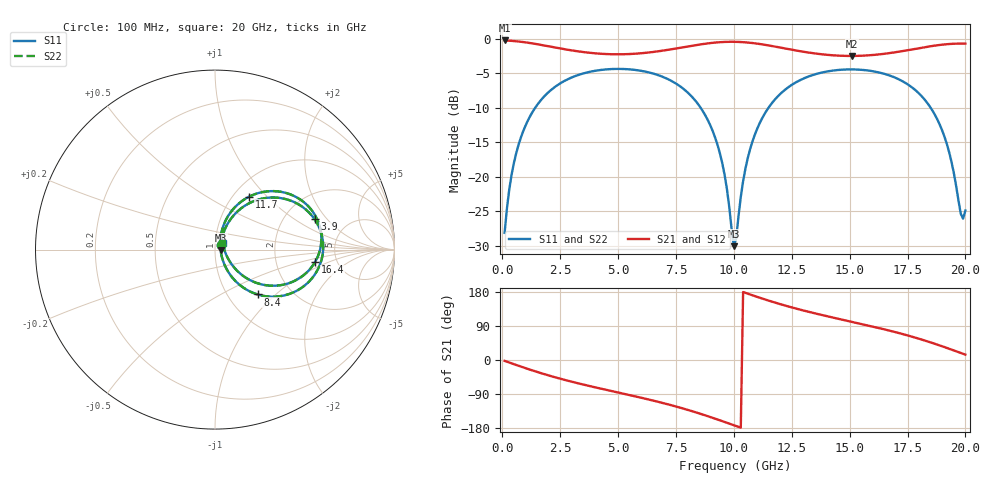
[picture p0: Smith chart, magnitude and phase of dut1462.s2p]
! Touchstone file exported from HFSS 2026.1.0
!  File:  C:/ffzhzh/LocalFiles/Ansys_Project_Files/temp_train_TSV_RDL_1462_1783360338_4416.aedt
!  Generated:  02:06:36 AM Jul  7, 2026
!  Design:  TSV_RDL
!  Project:  temp_train_TSV_RDL_1462_1783360338_4416
! Variables:
!  h_bsmrdl = 5.43um
!  h_ox = 20um
!  h_rdl = 5um
!  h_sub = 68.88um
!  h_tmrdl = 3.37um
!  h_tsv = 68.88um
!  h_via = 3um
!  l_bsmrdl = 842.32um
!  l_sub = 5873.97um
!  l_tmrdl = 705.86um
!  m_sub = 200um
!  pitch = 56.17um
!  r_tsv = 6.66um
!  s_tmrdl = 10um
!  w_bsmrdl = 28.09um
!  w_sub = 500um
!  w_tmrdl = 13.1um
!  x_tsv_center1 = 712.41um
!  x_tsv_center2 = 1582.82um
!  x_tsv_center3 = 2301.78um
!  x_tsv_center4 = 3172.19um
!  x_tsv_center5 = 3891.15um
!  x_tsv_center6 = 4761.56um
# GHz S MA R 50.000000
! Terminal data exported
! Port[1] = TM_RDL1_1_T1
! Port[2] = TM_RDL5_1_T1
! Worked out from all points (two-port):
!   200 points, 100 MHz to 20 GHz, reference 50 ohm
!   highest |S21| = -0.26 dB at 100 MHz (marker M1); lowest = -2.5 dB at 15.1 GHz (marker M2)
!   |S21| within 3 dB of the highest: start of sweep to end of sweep
!   lowest |S11| = -30.1 dB at 10 GHz (marker M3), VSWR 1.06, Z = 53.2 - j0.237 ohm
!   |S11| at or under -10 dB: start of sweep to 1.428 GHz; 8.56 GHz to 11.5 GHz (2.942 GHz wide, 29.3 % of centre); 18.5 GHz to end of sweep
!   |S22| runs from -30.1 to -4.4 dB; largest |S21 - S12| = 1.7e-14
!   S11 on the Smith chart (normalised r, x): 100 MHz: 1.06, +0.05; 3.9 GHz: 2.93, +1.49; 8.4 GHz: 1.37, -0.78; 11.7 GHz: 1.18, +0.79; 16.4 GHz: 3.41, -0.69; 20 GHz: 1.08, +0.08
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0.1  0.03904 38.3  0.97 -2.3  0.97 -2.3  0.03904 38.3
! Gamma 0 0 0 0
! Port Impedance 50 0 50 0
0.5  0.1251 64.1  0.9606 -11.0  0.9606 -11.0  0.1251 64.1
1.1  0.2538 59.0  0.9347 -23.5  0.9347 -23.5  0.2538 59.0
3.5  0.5594 22.4  0.7991 -64.9  0.7991 -64.9  0.5594 22.4
3.9  0.5801 16.9  0.7855 -70.6  0.7855 -70.6  0.5801 16.9
6.8  0.5387 -21.7  0.8123 -111.4  0.8123 -111.4  0.5387 -21.7
8.4  0.3445 -46.5  0.8997 -138.9  0.8997 -138.9  0.3445 -46.5
9.4  0.1468 -59.2  0.9424 -159.2  0.9424 -159.2  0.1468 -59.3
9.7  0.08137 -55.4  0.9478 -165.6  0.9478 -165.6  0.08131 -55.4
10  0.03127 -4.1  0.9487 -172.1  0.9487 -172.1  0.03113 -4.1
10.1  0.03555 34.1  0.9479 -174.3  0.9479 -174.3  0.03542 34.2
10.4  0.09245 68.3  0.9427 179.3  0.9427 179.3  0.09241 68.4
10.7  0.1575 70.3  0.9333 172.9  0.9333 172.9  0.1575 70.4
11.7  0.35 57.3  0.8807 153.0  0.8807 153.0  0.35 57.3
13.4  0.5441 31.9  0.785 124.6  0.785 124.6  0.544 31.9
15.1  0.5981 9.7  0.749 100.7  0.749 100.7  0.5981 9.7
16.4  0.5615 -7.1  0.7728 82.4  0.7728 82.4  0.5615 -7.1
16.7  0.5423 -11.2  0.7843 77.9  0.7843 77.9  0.5423 -11.2
18.7  0.2771 -40.0  0.891 42.4  0.891 42.4  0.277 -40.0
19.3  0.1498 -43.2  0.9141 29.7  0.9141 29.7  0.1497 -43.3
19.8  0.05373 -6.3  0.9208 18.6  0.9208 18.6  0.05352 -6.3
20  0.05663 42.1  0.9197 14.2  0.9197 14.2  0.05641 42.2
